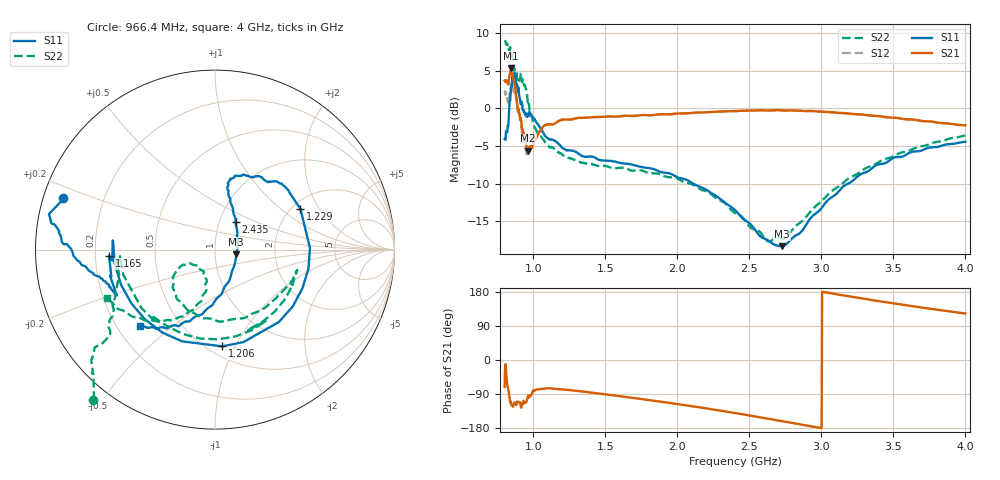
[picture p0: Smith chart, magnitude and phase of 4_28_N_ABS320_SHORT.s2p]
!Keysight Technologies N9950B: A.12.38
!Date: Friday, 28 April 2023 16:58:10
!Timezone: (UTC-06:00) Central Time (US & Canada)
!Model: N9950B
!Serial: MY61131330
!GPS Latitude:
!GPS Longitude:
!GPS TimeStamp: 0001-01-01 00:00:00Z
!GPS Seconds Since Last Read: 0
!CHECKSUM:0642349576
!Correction: S11(ON U)S21(ON U)S12(ON U)S22(ON U)
!S2P File: Measurements:S11,S21,S12,S22:
# Hz S DB R 50
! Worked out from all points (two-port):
!   1001 points, 800 MHz to 4 GHz, reference 50 ohm
!   highest |S21| = 5.35 dB at 844.8 MHz (marker M1); lowest = -5.6 dB at 963.2 MHz (marker M2)
!   |S21| within 3 dB of the highest: start of sweep to 876 MHz
!   lowest |S11| = -18.3 dB at 2.726 GHz (marker M3), VSWR 1.28, Z = 63.3 - j3.42 ohm
!   |S11| at or under -10 dB: 2.109 GHz to 3.187 GHz (1.078 GHz wide, 40.7 % of centre)
!   |S22| runs from -17.7 to 9.0 dB; largest |S21 - S12| = 0.67
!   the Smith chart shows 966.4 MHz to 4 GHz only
!   S11 on the Smith chart (normalised r, x): 966.4 MHz: 0.06, +0.17; 1.165 GHz: 0.26, -0.03; 1.206 GHz: 0.58, -0.89; 1.229 GHz: 2.22, +1.39; 2.435 GHz: 1.19, +0.39; 4 GHz: 0.29, -0.39
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8e8  -4.08 123.7  3.68 -70.9  2.40 -56.0  9.02 78.4
8.192e8  -3.19 97.8  3.45 -67.7  1.05 -53.6  8.60 -25.5
8.448e8  3.03 123.9  5.35 -116.9  2.76 -100.1  7.59 -19.3
8.704e8  4.05 130.4  2.87 -115.7  2.03 -105.9  5.25 -53.6
9.152e8  0.72 130.5  -1.72 -125.9  -2.37 -121.9  4.42 -91.8
9.632e8  -0.71 157.0  -5.63 -93.9  -6.16 -90.6  0.38 -129.1
9.664e8  -0.98 161.2  -5.29 -99.4  -5.82 -96.2  0.66 -129.2
1.0368e9  -2.26 -175.6  -3.21 -77.5  -3.22 -77.5  -3.51 -147.9
1.1392e9  -4.24 -158.0  -2.10 -75.6  -2.10 -75.6  -5.30 -172.9
1.1648e9  -4.56 -176.6  -1.81 -76.7  -1.81 -76.6  -5.67 -130.3
1.1872e9  -4.97 -172.3  -1.58 -77.4  -1.59 -77.4  -5.97 -110.5
1.2064e9  -5.34 -85.7  -1.50 -77.7  -1.50 -77.7  -6.23 -54.9
1.2288e9  -5.56 25.4  -1.49 -78.5  -1.49 -78.4  -6.49 -24.6
1.248e9  -5.59 39.8  -1.50 -79.2  -1.51 -79.1  -6.60 -18.0
1.3344e9  -6.29 51.4  -1.25 -82.8  -1.27 -82.7  -7.24 -36.1
1.8688e9  -8.36 78.8  -0.81 -109.3  -0.81 -109.3  -8.72 -115.3
2.4e9  -13.52 57.8  -0.37 -139.9  -0.37 -139.9  -13.91 -154.8
2.4352e9  -14.27 53.5  -0.33 -142.1  -0.33 -142.1  -14.24 -154.2
2.7264e9  -18.32 -12.7  -0.28 -161.4  -0.28 -161.3  -17.34 -120.2
2.9344e9  -14.39 -65.4  -0.36 -175.1  -0.36 -175.0  -13.48 -105.0
3.4688e9  -7.00 -113.9  -1.22 151.1  -1.22 151.1  -6.60 -122.8
4e9  -4.44 -134.4  -2.26 122.8  -2.25 122.6  -3.62 -155.7
